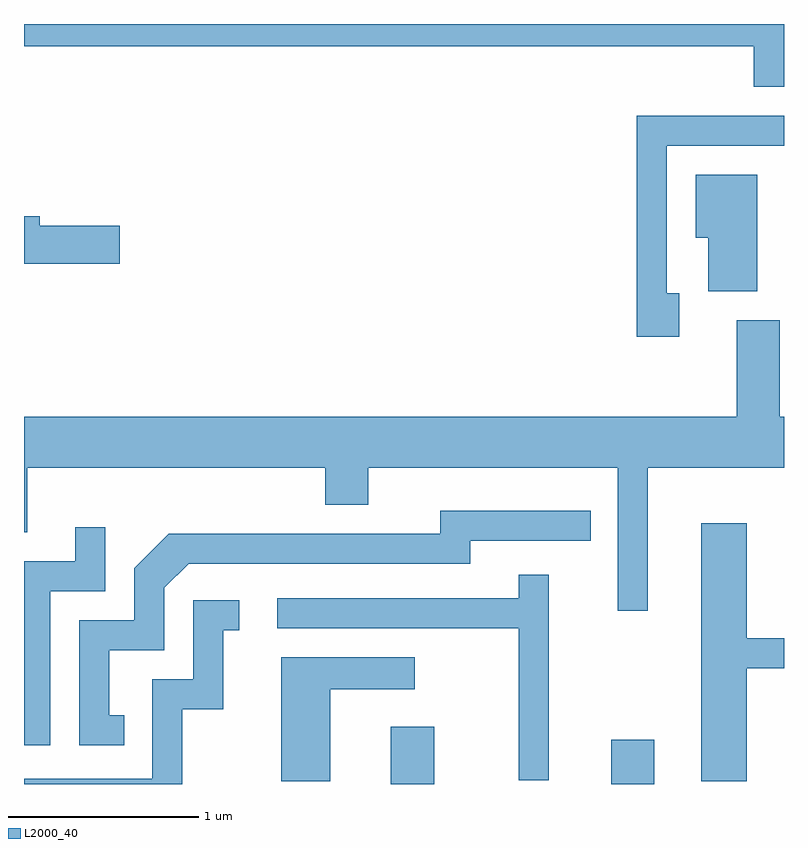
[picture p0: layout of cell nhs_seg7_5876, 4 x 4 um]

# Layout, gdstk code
import gdstk
lib = gdstk.Library(unit=1e-6, precision=1e-09)
def R(c, l, rs):  # rectangles x0, y0, x1, y1
    for r in rs: c.add(gdstk.rectangle(r[:2], r[2:], *l))
def P(c, l, *ps):  # polygons
    for p in ps: c.add(gdstk.Polygon(p, *l))
L2000_40 = (2000, 40)

nhs_seg7_5876 = lib.new_cell('nhs_seg7_5876')
R(nhs_seg7_5876, L2000_40, [(367.541,1668.252,367.769,1668.554), (368.701,1668.252,368.929,1668.484)])
P(nhs_seg7_5876, L2000_40, [(369.611,1672.252),(365.611,1672.252),(365.611,1672.136),(369.451,1672.136),(369.451,1671.921),(369.611,1671.921)],
  [(369.059,1670.834),(368.994,1670.834),(368.994,1671.611),(369.611,1671.611),(369.611,1671.769),(368.836,1671.769),(368.836,1670.606),(369.059,1670.606)],
  [(369.469,1671.459),(369.146,1671.459),(369.146,1671.126),(369.211,1671.126),(369.211,1670.846),(369.469,1670.846)],
  [(366.114,1671.189),(365.694,1671.189),(365.694,1671.239),(365.611,1671.239),(365.611,1670.991),(366.114,1670.991)],
  [(368.894,1669.916),(369.611,1669.916),(369.611,1670.184),(369.589,1670.184),(369.589,1670.694),(369.361,1670.694),(369.361,1670.184),(365.611,1670.184),(365.611,1669.576),(365.629,1669.576),(365.629,1669.916),(367.196,1669.916),(367.196,1669.721),(367.424,1669.721),(367.424,1669.916),(368.736,1669.916),(368.736,1669.163),(368.894,1669.163)],
  [(366.138,1668.614),(366.059,1668.614),(366.059,1668.956),(366.349,1668.956),(366.349,1669.284),(366.477,1669.411),(367.959,1669.411),(367.959,1669.531),(368.593,1669.531),(368.593,1669.689),(367.801,1669.689),(367.801,1669.569),(366.374,1669.569),(366.191,1669.387),(366.191,1669.114),(365.901,1669.114),(365.901,1668.456),(366.138,1668.456)],
  [(369.414,1668.861),(369.611,1668.861),(369.611,1669.019),(369.414,1669.019),(369.414,1669.624),(369.176,1669.624),(369.176,1668.266),(369.414,1668.266)],
  [(365.749,1669.266),(366.039,1669.266),(366.039,1669.603),(365.881,1669.603),(365.881,1669.424),(365.611,1669.424),(365.611,1668.456),(365.749,1668.456)],
  [(368.374,1669.353),(368.216,1669.353),(368.216,1669.229),(366.943,1669.229),(366.943,1669.071),(368.216,1669.071),(368.216,1668.273),(368.374,1668.273)],
  [(366.444,1668.646),(366.659,1668.646),(366.659,1669.061),(366.743,1669.061),(366.743,1669.219),(366.501,1669.219),(366.501,1668.804),(366.286,1668.804),(366.286,1668.279),(365.611,1668.279),(365.611,1668.252),(366.444,1668.252)],
  [(367.224,1668.751),(367.668,1668.751),(367.668,1668.919),(366.966,1668.919),(366.966,1668.266),(367.224,1668.266)])

lib.write_gds('nhs_seg7_5876.gds')
